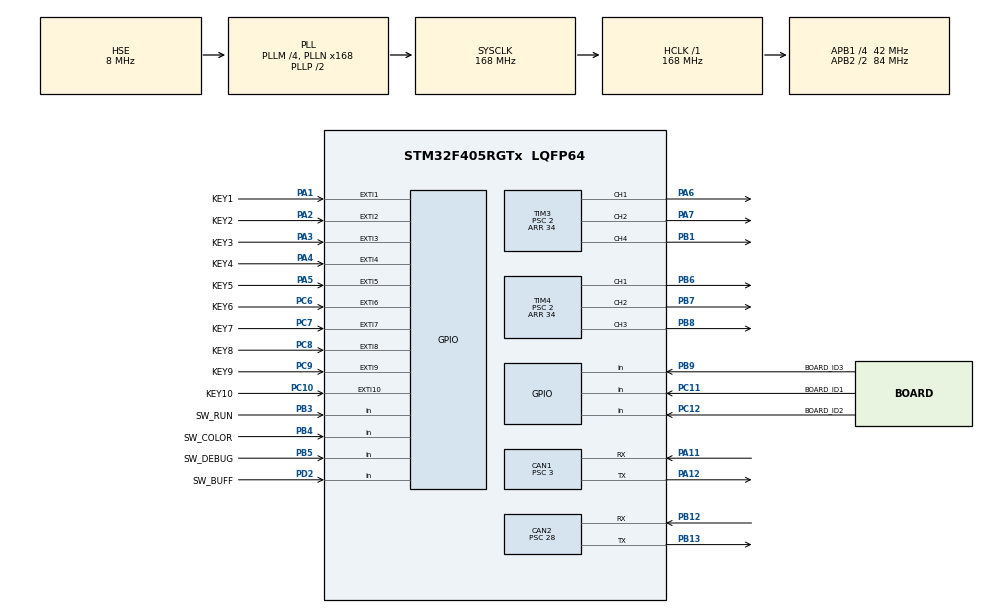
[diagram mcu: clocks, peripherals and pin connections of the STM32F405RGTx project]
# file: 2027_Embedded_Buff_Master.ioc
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CAN1.ABOM=ENABLE
CAN1.BS1=CAN_BS1_10TQ
CAN1.BS2=CAN_BS2_3TQ
CAN1.CalculateBaudRate=1000000
CAN1.CalculateTimeBit=1000
CAN1.CalculateTimeQuantum=71.42857142857143
CAN1.NART=ENABLE
CAN1.Prescaler=3
CAN2.BS1=CAN_BS1_11TQ
CAN2.BS2=CAN_BS2_3TQ
CAN2.CalculateBaudRate=99999
CAN2.CalculateTimeBit=10000
CAN2.CalculateTimeQuantum=666.6666666666667
CAN2.Prescaler=28
Dma.Request0=TIM3_CH1/TRIG
Dma.Request1=TIM3_CH2
Dma.Request2=TIM3_CH4/UP
Dma.Request3=TIM4_CH1
Dma.Request4=TIM4_CH2
Dma.Request5=TIM4_CH3
Dma.TIM3_CH1/TRIG.0.Direction=DMA_MEMORY_TO_PERIPH
Dma.TIM3_CH1/TRIG.0.FIFOMode=DMA_FIFOMODE_DISABLE
Dma.TIM3_CH1/TRIG.0.Instance=DMA1_Stream4
Dma.TIM3_CH1/TRIG.0.MemDataAlignment=DMA_MDATAALIGN_HALFWORD
Dma.TIM3_CH1/TRIG.0.MemInc=DMA_MINC_ENABLE
Dma.TIM3_CH1/TRIG.0.Mode=DMA_NORMAL
Dma.TIM3_CH1/TRIG.0.PeriphDataAlignment=DMA_PDATAALIGN_HALFWORD
Dma.TIM3_CH1/TRIG.0.PeriphInc=DMA_PINC_DISABLE
Dma.TIM3_CH1/TRIG.0.Priority=DMA_PRIORITY_LOW
Dma.TIM3_CH2.1.Direction=DMA_MEMORY_TO_PERIPH
Dma.TIM3_CH2.1.FIFOMode=DMA_FIFOMODE_DISABLE
Dma.TIM3_CH2.1.Instance=DMA1_Stream5
Dma.TIM3_CH2.1.MemDataAlignment=DMA_MDATAALIGN_HALFWORD
Dma.TIM3_CH2.1.MemInc=DMA_MINC_ENABLE
Dma.TIM3_CH2.1.Mode=DMA_NORMAL
Dma.TIM3_CH2.1.PeriphDataAlignment=DMA_PDATAALIGN_HALFWORD
Dma.TIM3_CH2.1.PeriphInc=DMA_PINC_DISABLE
Dma.TIM3_CH2.1.Priority=DMA_PRIORITY_LOW
Dma.TIM3_CH4/UP.2.Direction=DMA_MEMORY_TO_PERIPH
Dma.TIM3_CH4/UP.2.FIFOMode=DMA_FIFOMODE_DISABLE
Dma.TIM3_CH4/UP.2.Instance=DMA1_Stream2
Dma.TIM3_CH4/UP.2.MemDataAlignment=DMA_MDATAALIGN_HALFWORD
Dma.TIM3_CH4/UP.2.MemInc=DMA_MINC_ENABLE
Dma.TIM3_CH4/UP.2.Mode=DMA_NORMAL
Dma.TIM3_CH4/UP.2.PeriphDataAlignment=DMA_PDATAALIGN_HALFWORD
Dma.TIM3_CH4/UP.2.PeriphInc=DMA_PINC_DISABLE
Dma.TIM3_CH4/UP.2.Priority=DMA_PRIORITY_LOW
Dma.TIM4_CH1.3.Direction=DMA_MEMORY_TO_PERIPH
Dma.TIM4_CH1.3.FIFOMode=DMA_FIFOMODE_DISABLE
Dma.TIM4_CH1.3.Instance=DMA1_Stream0
Dma.TIM4_CH1.3.MemDataAlignment=DMA_MDATAALIGN_HALFWORD
Dma.TIM4_CH1.3.MemInc=DMA_MINC_ENABLE
Dma.TIM4_CH1.3.Mode=DMA_NORMAL
Dma.TIM4_CH1.3.PeriphDataAlignment=DMA_PDATAALIGN_HALFWORD
Dma.TIM4_CH1.3.PeriphInc=DMA_PINC_DISABLE
Dma.TIM4_CH1.3.Priority=DMA_PRIORITY_LOW
Dma.TIM4_CH2.4.Direction=DMA_MEMORY_TO_PERIPH
Dma.TIM4_CH2.4.FIFOMode=DMA_FIFOMODE_DISABLE
Dma.TIM4_CH2.4.Instance=DMA1_Stream3
Dma.TIM4_CH2.4.MemDataAlignment=DMA_MDATAALIGN_HALFWORD
Dma.TIM4_CH2.4.MemInc=DMA_MINC_ENABLE
Dma.TIM4_CH2.4.Mode=DMA_NORMAL
Dma.TIM4_CH2.4.PeriphDataAlignment=DMA_PDATAALIGN_HALFWORD
Dma.TIM4_CH2.4.PeriphInc=DMA_PINC_DISABLE
Dma.TIM4_CH2.4.Priority=DMA_PRIORITY_LOW
Dma.TIM4_CH3.5.Direction=DMA_MEMORY_TO_PERIPH
Dma.TIM4_CH3.5.FIFOMode=DMA_FIFOMODE_DISABLE
Dma.TIM4_CH3.5.Instance=DMA1_Stream7
Dma.TIM4_CH3.5.MemDataAlignment=DMA_MDATAALIGN_HALFWORD
Dma.TIM4_CH3.5.MemInc=DMA_MINC_ENABLE
Dma.TIM4_CH3.5.Mode=DMA_NORMAL
Dma.TIM4_CH3.5.PeriphDataAlignment=DMA_PDATAALIGN_HALFWORD
Dma.TIM4_CH3.5.PeriphInc=DMA_PINC_DISABLE
Dma.TIM4_CH3.5.Priority=DMA_PRIORITY_LOW
Mcu.Family=STM32F4
Mcu.Name=STM32F405RGTx
Mcu.Package=LQFP64
NVIC.CAN1_RX0_IRQn=true\:1\:0\:true\:false\:true\:true\:true\:true
NVIC.CAN2_RX0_IRQn=true\:1\:0\:true\:false\:true\:true\:true\:true
NVIC.DMA1_Stream0_IRQn=true\:5\:0\:true\:false\:true\:false\:true\:true
NVIC.DMA1_Stream2_IRQn=true\:5\:0\:true\:false\:true\:false\:true\:true
NVIC.DMA1_Stream3_IRQn=true\:5\:0\:true\:false\:true\:false\:true\:true
NVIC.DMA1_Stream4_IRQn=true\:5\:0\:true\:false\:true\:false\:true\:true
NVIC.DMA1_Stream5_IRQn=true\:5\:0\:true\:false\:true\:false\:true\:true
NVIC.DMA1_Stream7_IRQn=true\:5\:0\:true\:false\:true\:false\:true\:true
NVIC.EXTI15_10_IRQn=true\:3\:0\:true\:false\:true\:true\:true\:true
NVIC.EXTI1_IRQn=true\:3\:0\:true\:false\:true\:true\:true\:true
NVIC.EXTI2_IRQn=true\:3\:0\:true\:false\:true\:true\:true\:true
NVIC.EXTI3_IRQn=true\:3\:0\:true\:false\:true\:true\:true\:true
NVIC.EXTI4_IRQn=true\:3\:0\:true\:false\:true\:true\:true\:true
NVIC.EXTI9_5_IRQn=true\:3\:0\:true\:false\:true\:true\:true\:true
NVIC.PriorityGroup=NVIC_PRIORITYGROUP_4
NVIC.TIM6_DAC_IRQn=true\:2\:0\:true\:false\:true\:true\:true\:true
PA1.GPIO_Label=KEY1
PA1.GPIO_ModeDefaultEXTI=GPIO_MODE_IT_FALLING
PA1.Signal=GPXTI1
PA11.Mode=CAN_Activate
PA11.Signal=CAN1_RX
PA12.Mode=CAN_Activate
PA12.Signal=CAN1_TX
PA13.Mode=Serial_Wire
PA13.Signal=SYS_JTMS-SWDIO
PA14.Mode=Serial_Wire
PA14.Signal=SYS_JTCK-SWCLK
PA2.GPIO_Label=KEY2
PA2.GPIO_ModeDefaultEXTI=GPIO_MODE_IT_FALLING
PA2.Signal=GPXTI2
PA3.GPIO_Label=KEY3
PA3.GPIO_ModeDefaultEXTI=GPIO_MODE_IT_FALLING
PA3.Signal=GPXTI3
PA4.GPIO_Label=KEY4
PA4.GPIO_ModeDefaultEXTI=GPIO_MODE_IT_FALLING
PA4.Signal=GPXTI4
PA5.GPIO_Label=KEY5
PA5.GPIO_ModeDefaultEXTI=GPIO_MODE_IT_FALLING
PA5.Signal=GPXTI5
PA6.Signal=S_TIM3_CH1
PA7.Signal=S_TIM3_CH2
PB1.Signal=S_TIM3_CH4
PB12.Mode=CAN_Activate
PB12.Signal=CAN2_RX
PB13.Mode=CAN_Activate
PB13.Signal=CAN2_TX
PB3.GPIO_Label=SW_RUN
PB3.GPIO_PuPd=GPIO_PULLUP
PB3.Signal=GPIO_Input
PB4.GPIO_Label=SW_COLOR
PB4.GPIO_PuPd=GPIO_PULLUP
PB4.Signal=GPIO_Input
PB5.GPIO_Label=SW_DEBUG
PB5.GPIO_PuPd=GPIO_PULLUP
PB5.Signal=GPIO_Input
PB6.Signal=S_TIM4_CH1
PB7.Signal=S_TIM4_CH2
PB8.Signal=S_TIM4_CH3
PB9.GPIO_Label=BOARD_ID3
PB9.Signal=GPIO_Input
PC10.GPIO_Label=KEY10
PC10.GPIO_ModeDefaultEXTI=GPIO_MODE_IT_FALLING
PC10.Signal=GPXTI10
PC11.GPIO_Label=BOARD_ID1
PC11.Signal=GPIO_Input
PC12.GPIO_Label=BOARD_ID2
PC12.Signal=GPIO_Input
PC6.GPIO_Label=KEY6
PC6.GPIO_ModeDefaultEXTI=GPIO_MODE_IT_FALLING
PC6.Signal=GPXTI6
PC7.GPIO_Label=KEY7
PC7.GPIO_ModeDefaultEXTI=GPIO_MODE_IT_FALLING
PC7.Signal=GPXTI7
PC8.GPIO_Label=KEY8
PC8.GPIO_ModeDefaultEXTI=GPIO_MODE_IT_FALLING
PC8.Signal=GPXTI8
PC9.GPIO_Label=KEY9
PC9.GPIO_ModeDefaultEXTI=GPIO_MODE_IT_FALLING
PC9.Signal=GPXTI9
PD2.GPIO_Label=SW_BUFF
PD2.GPIO_PuPd=GPIO_PULLUP
PD2.Signal=GPIO_Input
PH0-OSC_IN.Mode=HSE-External-Oscillator
PH0-OSC_IN.Signal=RCC_OSC_IN
PH1-OSC_OUT.Mode=HSE-External-Oscillator
PH1-OSC_OUT.Signal=RCC_OSC_OUT
ProjectManager.HeapSize=0x200
ProjectManager.StackSize=0x800
ProjectManager.TargetToolchain=MDK-ARM V5.32
RCC.48MHZClocksFreq_Value=48000000
RCC.AHBFreq_Value=168000000
RCC.APB1CLKDivider=RCC_HCLK_DIV4
RCC.APB1Freq_Value=42000000
RCC.APB1TimFreq_Value=84000000
RCC.APB2CLKDivider=RCC_HCLK_DIV2
RCC.APB2Freq_Value=84000000
RCC.APB2TimFreq_Value=168000000
RCC.CortexFreq_Value=168000000
RCC.HCLKFreq_Value=168000000
RCC.HSE_VALUE=8000000
RCC.HSI_VALUE=16000000
RCC.LSE_VALUE=32768
RCC.PLLM=4
RCC.PLLN=168
RCC.PLLQ=7
RCC.PLLSourceVirtual=RCC_PLLSOURCE_HSE
RCC.SYSCLKFreq_VALUE=168000000
RCC.SYSCLKSource=RCC_SYSCLKSOURCE_PLLCLK
RCC.VCOOutputFreq_Value=336000000
SH.S_TIM3_CH1.0=TIM3_CH1,PWM Generation1 CH1
SH.S_TIM3_CH2.0=TIM3_CH2,PWM Generation2 CH2
SH.S_TIM3_CH4.0=TIM3_CH4,PWM Generation4 CH4
SH.S_TIM4_CH1.0=TIM4_CH1,PWM Generation1 CH1
SH.S_TIM4_CH2.0=TIM4_CH2,PWM Generation2 CH2
SH.S_TIM4_CH3.0=TIM4_CH3,PWM Generation3 CH3
TIM3.Channel-PWM\ Generation1\ CH1=TIM_CHANNEL_1
TIM3.Channel-PWM\ Generation2\ CH2=TIM_CHANNEL_2
TIM3.Channel-PWM\ Generation4\ CH4=TIM_CHANNEL_4
TIM3.Period=34
TIM3.Prescaler=2
TIM4.Channel-PWM\ Generation1\ CH1=TIM_CHANNEL_1
TIM4.Channel-PWM\ Generation2\ CH2=TIM_CHANNEL_2
TIM4.Channel-PWM\ Generation3\ CH3=TIM_CHANNEL_3
TIM4.Period=34
TIM4.Prescaler=2
TIM6.AutoReloadPreload=TIM_AUTORELOAD_PRELOAD_ENABLE
TIM6.Period=999
TIM6.Prescaler=83
VP_RNG_VS_RNG.Mode=RNG_Activate
VP_TIM3_VS_ClockSourceINT.Mode=Internal
VP_TIM4_VS_ClockSourceINT.Mode=Internal
VP_TIM6_VS_ClockSourceINT.Mode=Enable_Timer
board=custom

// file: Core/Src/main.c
/* USER CODE BEGIN Header */
/**
  ******************************************************************************
  * @file           : main.c
  * @brief          : Main program body
  ******************************************************************************
  * @attention
  *
  * Copyright (c) 2026 STMicroelectronics.
  * All rights reserved.
  *
  * This software is licensed under terms that can be found in the LICENSE file
  * in the root directory of this software component.
  * If no LICENSE file comes with this software, it is provided AS-IS.
  *
  ******************************************************************************
  */
/* USER CODE END Header */
#include "main.h"
#include "can.h"
#include "dma.h"
#include "rng.h"
#include "tim.h"
#include "gpio.h"

/* USER CODE BEGIN Includes */
#include <stdlib.h>
#include "bsp_ws2812.h"
#include "bsp_switch.h"
#include "bsp_can.h"
#include "bsp_rng.h"
#include "buff.h"
#include "light.h"
#include "hit_detect.h"
/* USER CODE END Includes */

void SystemClock_Config(void);

int main(void)
{

  /* MCU Configuration--------------------------------------------------------*/

  /* Reset of all peripherals, Initializes the Flash interface and the Systick. */
  HAL_Init();

  /* Configure the system clock */
  SystemClock_Config();

  /* Initialize all configured peripherals */
  MX_GPIO_Init();
  MX_DMA_Init();
  MX_CAN1_Init();
  MX_RNG_Init();
  MX_TIM3_Init();
  MX_TIM4_Init();
  MX_TIM6_Init();
  MX_CAN2_Init();
  /* USER CODE BEGIN 2 */
  /* 初始化序列(顺序见《代码架构设计》四.3):
     ①等 WS2812 供电稳 → ②各模块 init → ③最后启动 1ms 调度中断 */
  HAL_Delay(100);                   /* 等 WS2812 供电稳 */
  bsp_ws2812_init();
  bsp_switch_init();
  bsp_can_init();
  srand(bsp_rng_get_seed());
  buff_init();
  light_init();
  hit_detect_init();          /* S4: EXTI 击打记录(EXTI 已在 MX_GPIO_Init 使能, 回调只记录) */
  HAL_TIM_Base_Start_IT(&htim6);    //中断调度开始
  /* USER CODE END 2 */

  /* Infinite loop */
  /* USER CODE BEGIN WHILE */
  while (1)
  {
    //__WFI();    /* 空转等中断: 调度全在 TIM6(主循环保持为空是架构纪律) */
    /* USER CODE END WHILE */

  }
}

void SystemClock_Config(void)
{
  RCC_OscInitTypeDef RCC_OscInitStruct = {0};
  RCC_ClkInitTypeDef RCC_ClkInitStruct = {0};

  /** Configure the main internal regulator output voltage
  */
  __HAL_RCC_PWR_CLK_ENABLE();
  __HAL_PWR_VOLTAGESCALING_CONFIG(PWR_REGULATOR_VOLTAGE_SCALE1);

  /** Initializes the RCC Oscillators according to the specified parameters
  * in the RCC_OscInitTypeDef structure.
  */
  RCC_OscInitStruct.OscillatorType = RCC_OSCILLATORTYPE_HSE;
  RCC_OscInitStruct.HSEState = RCC_HSE_ON;
  RCC_OscInitStruct.PLL.PLLState = RCC_PLL_ON;
  RCC_OscInitStruct.PLL.PLLSource = RCC_PLLSOURCE_HSE;
  RCC_OscInitStruct.PLL.PLLM = 4;
  RCC_OscInitStruct.PLL.PLLN = 168;
  RCC_OscInitStruct.PLL.PLLP = RCC_PLLP_DIV2;
  RCC_OscInitStruct.PLL.PLLQ = 7;
  if (HAL_RCC_OscConfig(&RCC_OscInitStruct) != HAL_OK)
  {
    Error_Handler();
  }

  /** Initializes the CPU, AHB and APB buses clocks
  */
  RCC_ClkInitStruct.ClockType = RCC_CLOCKTYPE_HCLK|RCC_CLOCKTYPE_SYSCLK
                              |RCC_CLOCKTYPE_PCLK1|RCC_CLOCKTYPE_PCLK2;
  RCC_ClkInitStruct.SYSCLKSource = RCC_SYSCLKSOURCE_PLLCLK;
  RCC_ClkInitStruct.AHBCLKDivider = RCC_SYSCLK_DIV1;
  RCC_ClkInitStruct.APB1CLKDivider = RCC_HCLK_DIV4;
  RCC_ClkInitStruct.APB2CLKDivider = RCC_HCLK_DIV2;

  if (HAL_RCC_ClockConfig(&RCC_ClkInitStruct, FLASH_LATENCY_5) != HAL_OK)
  {
    Error_Handler();
  }
}

void Error_Handler(void)
{
  __disable_irq();
  while (1)
  {
  }
}
